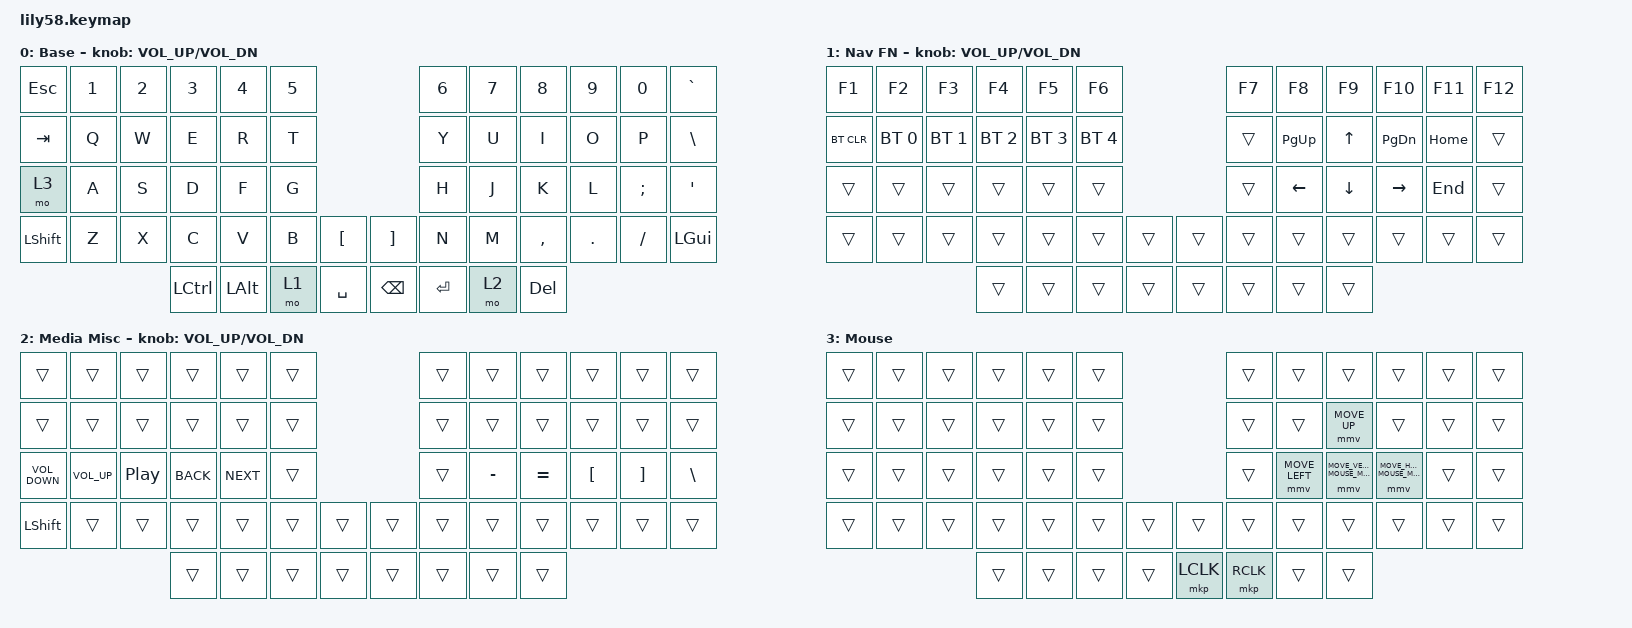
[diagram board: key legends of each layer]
/*
 * Copyright (c) 2020 The ZMK Contributors
 *
 * SPDX-License-Identifier: MIT
 */

#include <behaviors.dtsi>
#include <dt-bindings/zmk/mouse.h>
#include <dt-bindings/zmk/bt.h>
#include <dt-bindings/zmk/keys.h>

#define U_MOUSE_MOVE_MAX 1400                     /* <--- New max speed setting (default: 600) */

#undef MOVE_UP
#undef MOVE_DOWN
#undef MOVE_LEFT
#undef MOVE_RIGHT

#define MOVE_UP MOVE_VERT(-U_MOUSE_MOVE_MAX)
#define MOVE_DOWN MOVE_VERT(U_MOUSE_MOVE_MAX)
#define MOVE_LEFT MOVE_HOR(-U_MOUSE_MOVE_MAX)
#define MOVE_RIGHT MOVE_HOR(U_MOUSE_MOVE_MAX)

&mmv {
    time-to-max-speed-ms = <400>;             /* <--- How long time until max speed is reached (default: 500) */
};

/ {
    keymap {
        compatible = "zmk,keymap";

        default_layer {
            label = "Base";
            bindings = <
&kp ESC    &kp N1  &kp N2  &kp N3            &kp N4        &kp N5                              &kp N6     &kp N7  &kp N8     &kp N9   &kp N0    &kp GRAVE
&kp TAB    &kp Q   &kp W   &kp E             &kp R         &kp T                               &kp Y      &kp U   &kp I      &kp O    &kp P     &kp BSLH
&mo 3      &kp A   &kp S   &kp D             &kp F         &kp G                               &kp H      &kp J   &kp K      &kp L    &kp SEMI  &kp SQT
&kp LSHFT  &kp Z   &kp X   &kp C             &kp V         &kp B   &kp LBKT     &kp RBKT       &kp N      &kp M   &kp COMMA  &kp DOT  &kp FSLH  &kp LGUI
                           &kp LEFT_CONTROL  &kp LEFT_ALT  &mo 1   &kp SPACE    &kp BACKSPACE  &kp ENTER  &mo 2   &kp DEL
            >;

            sensor-bindings = <&inc_dec_kp C_VOL_UP C_VOL_DN>;
        };

        nav {
            label = "Nav FN";
            bindings = <
&kp F1      &kp F2        &kp F3        &kp F4        &kp F5        &kp F6                          &kp F7  &kp F8          &kp F9          &kp F10          &kp F11   &kp F12
&bt BT_CLR  &bt BT_SEL 0  &bt BT_SEL 1  &bt BT_SEL 2  &bt BT_SEL 3  &bt BT_SEL 4                    &trans  &kp PAGE_UP     &kp UP_ARROW    &kp PAGE_DOWN    &kp HOME  &trans
&trans      &trans        &trans        &trans        &trans        &trans                          &trans  &kp LEFT_ARROW  &kp DOWN_ARROW  &kp RIGHT_ARROW  &kp END   &trans
&trans      &trans        &trans        &trans        &trans        &trans        &trans    &trans  &trans  &trans          &trans          &trans           &trans    &trans
                                        &trans        &trans        &trans        &trans    &trans  &trans  &trans          &trans
            >;

            sensor-bindings = <&inc_dec_kp C_VOL_UP C_VOL_DN>;
        };

        media_misc {
            label = "Media Misc";
            bindings = <
&trans             &trans           &trans            &trans      &trans      &trans                    &trans  &trans     &trans     &trans    &trans    &trans
&trans             &trans           &trans            &trans      &trans      &trans                    &trans  &trans     &trans     &trans    &trans    &trans
&kp C_VOLUME_DOWN  &kp C_VOLUME_UP  &kp C_PLAY_PAUSE  &kp K_BACK  &kp K_NEXT  &trans                    &trans  &kp MINUS  &kp EQUAL  &kp LBKT  &kp RBKT  &kp BACKSLASH
&kp LEFT_SHIFT     &trans           &trans            &trans      &trans      &trans  &trans    &trans  &trans  &trans     &trans     &trans    &trans    &trans
                                                      &trans      &trans      &trans  &trans    &trans  &trans  &trans     &trans
            >;

            sensor-bindings = <&inc_dec_kp C_VOL_UP C_VOL_DN>;
        };

        mouse {
            label = "Mouse";
            bindings = <
&trans  &trans  &trans  &trans  &trans  &trans                       &trans     &trans          &trans          &trans           &trans  &trans
&trans  &trans  &trans  &trans  &trans  &trans                       &trans     &trans          &mmv MOVE_UP    &trans           &trans  &trans
&trans  &trans  &trans  &trans  &trans  &trans                       &trans     &mmv MOVE_LEFT  &mmv MOVE_DOWN  &mmv MOVE_RIGHT  &trans  &trans
&trans  &trans  &trans  &trans  &trans  &trans  &trans    &trans     &trans     &trans          &trans          &trans           &trans  &trans
                        &trans  &trans  &trans  &trans    &mkp LCLK  &mkp RCLK  &trans          &trans
            >;
        };
    };
};
